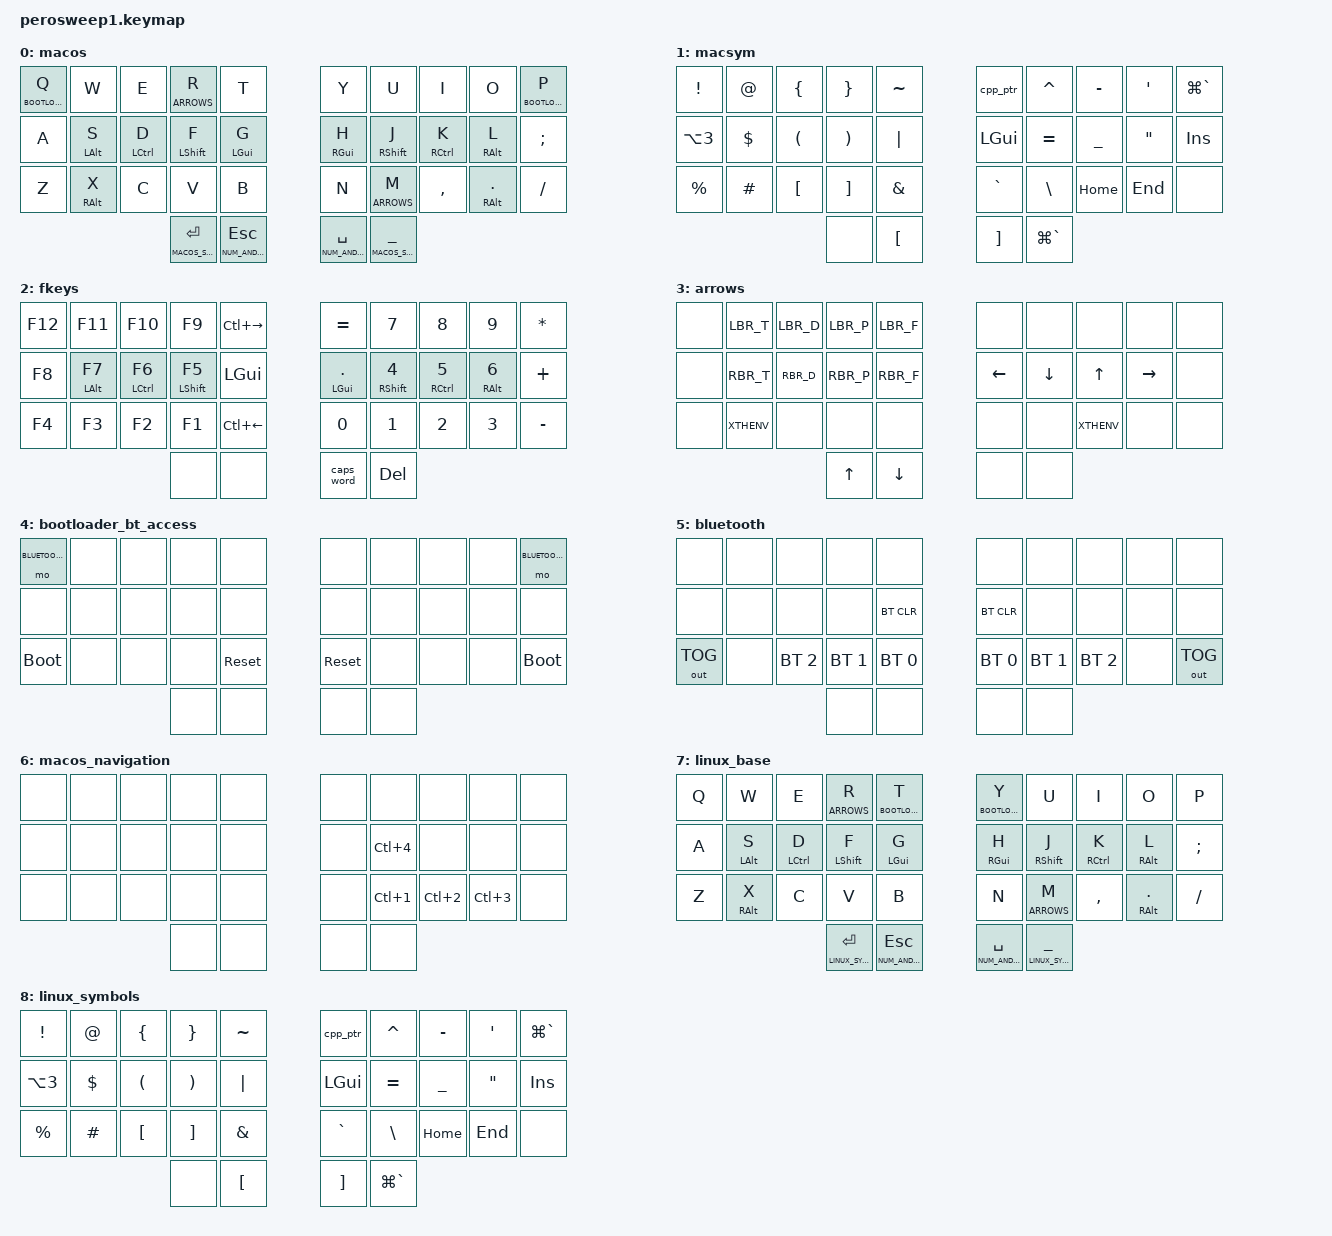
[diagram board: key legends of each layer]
#include <behaviors.dtsi>
#include <dt-bindings/zmk/keys.h>
#include <dt-bindings/zmk/bt.h>
#include <dt-bindings/zmk/outputs.h>

&sl {
    release-after-ms = <500>;
};

&caps_word {
    continue-list = <UNDERSCORE MINUS SPACE BACKSPACE>;
};

/ {
    behaviors {
        lm: home_row_left {
            compatible = "zmk,behavior-hold-tap";
            label = "home_row_left";
            #binding-cells = <2>;
            // tapping-term-ms = <280>;
            // quick_tap_ms = <175>;
            tapping-term-ms = <240>;
            quick_tap_ms = <165>;
            require-prior-idle-ms = <150>;
            flavor = "balanced";
            bindings = <&kp>, <&kp>;
            hold-trigger-key-positions = <5 6 7 8 9 15 16 17 18 19 25 26 27 28 29 32 33>;
            hold-trigger-on-release;
        };
        rm: home_row_right {
            compatible = "zmk,behavior-hold-tap";
            label = "home_row_right";
            #binding-cells = <2>;
            // tapping-term-ms = <280>;
            // quick_tap_ms = <175>;
            tapping-term-ms = <240>;
            quick_tap_ms = <165>;
            require-prior-idle-ms = <150>;
            flavor = "balanced";
            bindings = <&kp>, <&kp>;
            hold-trigger-key-positions = <0 1 2 3 4 10 11 12 13 14 20 21 22 23 24 30 31>;
            hold-trigger-on-release;
        };
    };

       macros {
            zed_em_kay: zed_em_kay {
                compatible = "zmk,behavior-macro";
                #binding-cells = <0>;
                bindings
                    = <&macro_press &kp LSHFT>
                    , <&macro_tap &kp Z &kp M &kp K>
                    , <&macro_release &kp LSHFT>
                    ;
            };
            cpp_ptr: cpp_ptr {
                compatible = "zmk,behavior-macro";
                #binding-cells = <0>;
                bindings
                    = <&macro_tap &kp MINUS &kp GREATER_THAN>
                    ;
            };
            gxp_str: gxp_str {
                compatible = "zmk,behavior-macro";
                wait-ms = <5>;
                tap-ms = <5>;
                #binding-cells = <0>;
                bindings
                    = <&macro_tap &kp SPACE &kp C &kp E &kp R &kp SLASH &kp LS(U) &kp S &kp E &kp R &kp S &kp SLASH &kp A &kp L &kp F &kp I &kp E &kp SLASH &kp LS(D) &kp O &kp C &kp U &kp M &kp E &kp N &kp T &kp S &kp SLASH &kp UNDER &kp LS(R) &kp LS(E) &kp LS(P) &kp LS(O) &kp LS(S) &kp LS(I) &kp LS(T) &kp LS(O) &kp LS(R) &kp LS(I) &kp LS(E) &kp LS(S) &kp UNDER &kp SLASH &kp C &kp O &kp D &kp E &kp UNDER &kp G &kp E &kp N &kp UNDER &kp S &kp C &kp R &kp I &kp P &kp T &kp S &kp SLASH &kp G &kp O &kp D &kp O &kp T &kp UNDER &kp C &kp P &kp P &kp UNDER &kp H &kp E &kp A &kp D &kp E &kp R &kp UNDER &kp E &kp X &kp P &kp O &kp R &kp T &kp UNDER &kp P &kp R &kp O &kp C &kp E &kp S &kp S &kp O &kp R &kp SLASH &kp G &kp E &kp X &kp P &kp O &kp R &kp T>
                    ;
            };
            LBR_D: LBR_D {
                compatible = "zmk,behavior-macro";
                #binding-cells = <0>;
                bindings
                    = <&macro_press &kp LEFT_BRACKET>
                    , <&macro_tap &kp D>
                    , <&macro_release &kp LEFT_BRACKET>
                    ;
            };
            LBR_F: LBR_F {
                compatible = "zmk,behavior-macro";
                #binding-cells = <0>;
                bindings
                    = <&macro_press &kp LEFT_BRACKET>
                    , <&macro_tap &kp F>
                    , <&macro_release &kp LEFT_BRACKET>
                    ;
            };
            LBR_T: LBR_T {
                compatible = "zmk,behavior-macro";
                #binding-cells = <0>;
                bindings
                    = <&macro_press &kp LEFT_BRACKET>
                    , <&macro_tap &kp T>
                    , <&macro_release &kp LEFT_BRACKET>
                    ;
            };
            LBR_P: LBR_P {
                compatible = "zmk,behavior-macro";
                #binding-cells = <0>;
                bindings
                    = <&macro_press &kp LEFT_BRACKET>
                    , <&macro_tap &kp P>
                    , <&macro_release &kp LEFT_BRACKET>
                    ;
            };
            RBR_D: RBR_D {
                compatible = "zmk,behavior-macro";
                #binding-cells = <0>;
                bindings
                    = <&macro_press &kp RIGHT_BRACKET>
                    , <&macro_tap &kp D>
                    , <&macro_release &kp RIGHT_BRACKET>
                    ;
            };
            RBR_F: RBR_F {
                compatible = "zmk,behavior-macro";
                #binding-cells = <0>;
                bindings
                    = <&macro_press &kp RIGHT_BRACKET>
                    , <&macro_tap &kp F>
                    , <&macro_release &kp RIGHT_BRACKET>
                    ;
            };
            RBR_T: RBR_T {
                compatible = "zmk,behavior-macro";
                #binding-cells = <0>;
                bindings
                    = <&macro_press &kp RIGHT_BRACKET>
                    , <&macro_tap &kp T>
                    , <&macro_release &kp RIGHT_BRACKET>
                    ;
            };
            RBR_P: RBR_P {
                compatible = "zmk,behavior-macro";
                #binding-cells = <0>;
                bindings
                    = <&macro_press &kp RIGHT_BRACKET>
                    , <&macro_tap &kp P>
                    , <&macro_release &kp RIGHT_BRACKET>
                    ;
            };
            XTHENV: XTHENV {
                compatible = "zmk,behavior-macro";
                #binding-cells = <0>;
                bindings
                    = <&macro_tap &kp X &kp V>
                    ;
            };
        };    

        combos {
        compatible = "zmk,combos";
        combo_bspc {
        timeout-ms = <50>;
        key-positions = <8 9>;
        bindings = <&kp BACKSPACE>;
        };
        combo_tab {
        timeout-ms = <50>;
        key-positions = <0 1>;
        bindings = <&kp TAB>;
        };
        combo_mins {
        timeout-ms = <50>;
        key-positions = <22 23>;
        bindings = <&kp MINUS>;
        };
        combo_eql {
        timeout-ms = <50>;
        key-positions = <1 2>;
        bindings = <&kp EQUAL>;
        };
        combo_dquo {
        timeout-ms = <50>;
        key-positions = <7 8>;
        bindings = <&kp DOUBLE_QUOTES>;
        };
    };

    #define MACOS_BASE           0
    #define MACOS_SYMBOLS        1
    #define NUM_AND_FKEYS        2
    #define ARROWS               3
    #define BOOTLOADER_BT_ACCESS 4
    #define BLUETOOTH            5
    #define MACOS_NAVIGATION     6
    #define LINUX_BASE           7
    #define LINUX_SYMBOLS        8

    keymap {
        compatible = "zmk,keymap";

        macos {
            bindings = <
                &lt BOOTLOADER_BT_ACCESS Q   &kp W         &kp E          &lt ARROWS R              &kp T                       &kp Y                       &kp U           &kp I         &kp O          &lt BOOTLOADER_BT_ACCESS P
                &kp A                        &lm LALT S    &lm LCTRL D    &lm LSHIFT F              &lm LGUI G                  &rm RGUI H                  &rm RSHIFT J    &rm RCTRL K   &rm RALT L     &kp SEMICOLON
                &kp Z                        &lm RALT X    &kp C          &kp V                     &kp B                       &kp N                       &lt ARROWS M    &kp COMMA     &rm RALT DOT   &kp SLASH
                                                                          &lt MACOS_SYMBOLS ENTER   &lt NUM_AND_FKEYS ESC       &lt NUM_AND_FKEYS SPACE     &lt MACOS_SYMBOLS UNDER
            >;
        };

        macsym { 
            bindings = <
                &kp EXCL       &kp AT        &kp LBRC       &kp RBRC          &kp TILDE     &cpp_ptr     &kp CARET    &kp MINUS   &kp SQT      &kp LG(GRAVE)
                &kp LA(N3)     &kp DLLR      &kp LPAR       &kp RPAR          &kp PIPE      &kp LGUI     &kp EQUAL    &kp UNDER   &kp DQT      &kp INS
                &kp PRCNT      &kp HASH      &kp LBKT       &kp RBKT          &kp AMPS      &kp GRAVE    &kp BSLH     &kp HOME    &kp END      &none
                                                            &none             &kp LBKT      &kp RBKT     &kp LG(GRAVE)
            >;
        };

        fkeys {
            bindings = <
                &kp F12        &kp F11       &kp F10        &kp F9            &kp LC(RIGHT) &kp EQUAL    &kp N7       &kp N8      &kp N9       &kp STAR
                &kp F8         &lm LALT F7   &lm LCTRL F6   &lm LSHIFT F5     &kp LGUI      &rm LGUI DOT &rm RSHIFT N4 &rm RCTRL N5 &rm RALT N6 &kp PLUS
                &kp F4         &kp F3        &kp F2         &kp F1            &kp LC(LEFT)  &kp N0       &kp N1       &kp N2      &kp N3       &kp MINUS
                                                            &none             &none         &caps_word   &kp DEL
            >;
        };

        arrows {
            bindings = <
                &none          &LBR_T        &LBR_D         &LBR_P            &LBR_F        &none        &none        &none       &none        &none
                &none          &RBR_T        &RBR_D         &RBR_P            &RBR_F        &kp LEFT     &kp DOWN     &kp UP      &kp RIGHT    &none
                &none          &XTHENV       &none          &none             &none         &none        &none        &XTHENV     &none        &none
                                                            &kp UP            &kp DOWN      &none        &none
            >;
        };

        bootloader_bt_access {
            bindings = <
                &mo BLUETOOTH  &none         &none          &none             &none         &none        &none        &none       &none        &mo BLUETOOTH
                &none          &none         &none          &none             &none         &none        &none        &none       &none        &none
                &bootloader    &none         &none          &none             &sys_reset    &sys_reset   &none        &none       &none        &bootloader
                                                            &none             &none         &none        &none
            >;
        };

        bluetooth {
            bindings = <
                &none          &none         &none          &none             &none         &none        &none        &none       &none        &none
                &none          &none         &none          &none             &bt BT_CLR    &bt BT_CLR   &none        &none       &none        &none
                &out OUT_TOG   &none         &bt BT_SEL 2   &bt BT_SEL 1      &bt BT_SEL 0  &bt BT_SEL 0 &bt BT_SEL 1 &bt BT_SEL 2 &none        &out OUT_TOG
                                                            &none             &none         &none        &none
            >;
        };

        macos_navigation {
            bindings = <
                &none          &none         &none          &none             &none         &none        &none        &none       &none        &none
                &none          &none         &none          &none             &none         &none        &kp LC(N4)   &none       &none        &none
                &none          &none         &none          &none             &none         &none        &kp LC(N1)   &kp LC(N2)  &kp LC(N3)   &none
                                                            &none             &none         &none        &none
            >;
        };

        linux_base {
            bindings = <
                &kp Q          &kp W         &kp E          &lt ARROWS R              &lt BOOTLOADER_BT_ACCESS T  &lt BOOTLOADER_BT_ACCESS Y  &kp U           &kp I         &kp O          &kp P
                &kp A          &lm LALT S    &lm LCTRL D    &lm LSHIFT F              &lm LGUI G                  &rm RGUI H                  &rm RSHIFT J    &rm RCTRL K   &rm RALT L     &kp SEMICOLON
                &kp Z          &lm RALT X    &kp C          &kp V                     &kp B                       &kp N                       &lt ARROWS M    &kp COMMA     &rm RALT DOT   &kp SLASH
                                                            &lt LINUX_SYMBOLS ENTER   &lt NUM_AND_FKEYS ESC       &lt NUM_AND_FKEYS SPACE     &lt LINUX_SYMBOLS UNDER
            >;
        };

        linux_symbols {
            bindings = <
                &kp EXCL       &kp AT        &kp LBRC       &kp RBRC          &kp TILDE     &cpp_ptr     &kp CARET    &kp MINUS   &kp SQT      &kp LG(GRAVE)
                &kp LA(N3)     &kp DLLR      &kp LPAR       &kp RPAR          &kp PIPE      &kp LGUI     &kp EQUAL    &kp UNDER   &kp DQT      &kp INS
                &kp PRCNT      &kp HASH      &kp LBKT       &kp RBKT          &kp AMPS      &kp GRAVE    &kp BSLH     &kp HOME    &kp END      &none
                                                                  &none         &kp LBKT     &kp RBKT     &kp LG(GRAVE)
            >;
        };

        // // KEEP THIS! its the blank one we can copy
        // blank {
        // bindings = <

        // &none     &none     &none     &none     &none     &none     &none     &none     &none     &none
        // &none     &none     &none     &none     &none     &none     &none     &none     &none     &none     
        // &none     &none     &none     &none     &none     &none     &none     &none     &none     &none

        //                               &none     &none     &none     &none  
        // >;
        // };


    };
};
